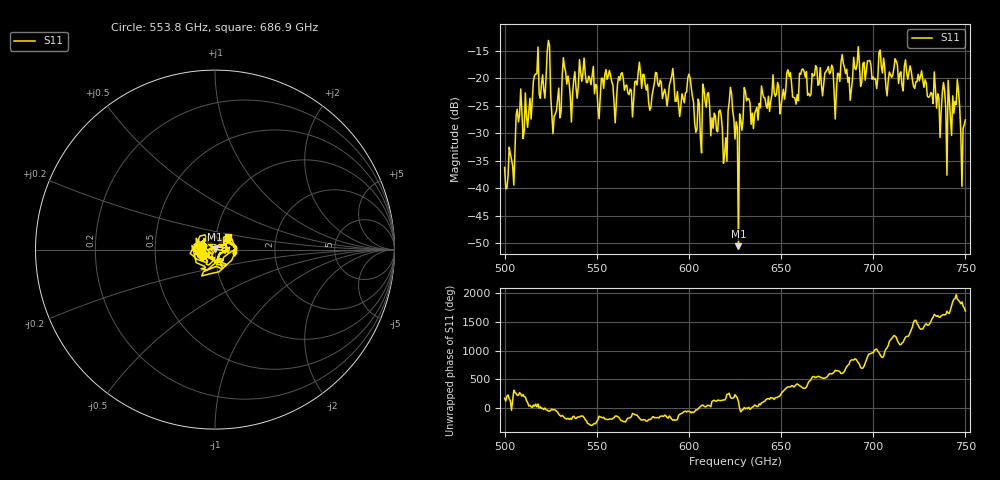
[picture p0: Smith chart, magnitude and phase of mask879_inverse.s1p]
!Created with skrf (http://scikit-rf.org).
# GHz S MA R 50.0
!freq magS11 angS11
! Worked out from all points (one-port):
!   401 points, 500 GHz to 750 GHz, reference 50 ohm
!   lowest |S11| = -50.5 dB at 626.9 GHz (marker M1), VSWR 1.01, Z = 49.9 + j0.27 ohm
!   |S11| at or under -10 dB: start of sweep to end of sweep
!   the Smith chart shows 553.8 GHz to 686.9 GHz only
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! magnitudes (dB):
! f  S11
! 500 GHz  -36.2
! 507.5 GHz  -27.9
! 513.8 GHz  -23.6
! 516.9 GHz  -19.2
! 520.6 GHz  -19.4
! 523.8 GHz  -13.1
! 526.9 GHz  -26.9
! 531.2 GHz  -19.5
! 562.5 GHz  -20.4
! 579.4 GHz  -25.3
! 590.6 GHz  -19.6
! 593.8 GHz  -22.4
! 600.6 GHz  -19.9
! 605.6 GHz  -24.7
! 608.8 GHz  -24.0
! 619.4 GHz  -33.8
! 622.5 GHz  -21.7
! 625 GHz  -31.1
! 626.9 GHz  -50.5
! 631.2 GHz  -24.1
! 635 GHz  -29.2
! 656.2 GHz  -23.4
! 680 GHz  -22.4
! 683.8 GHz  -17.3
! 687.5 GHz  -24.0
! 690.6 GHz  -18.4
! 718.8 GHz  -20.2
! 750 GHz  -27.6
